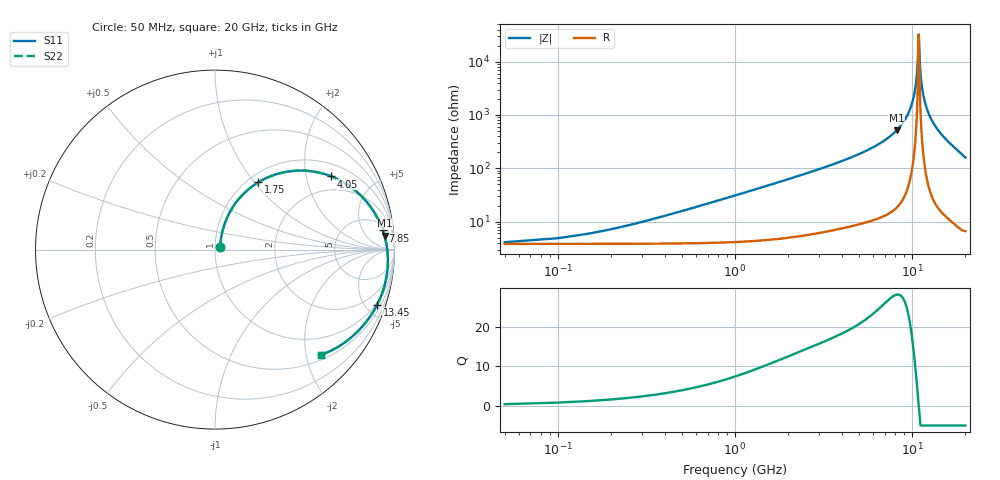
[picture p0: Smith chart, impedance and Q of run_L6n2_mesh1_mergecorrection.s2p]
#  Hz  S  RI  R  50
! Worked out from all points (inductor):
!   400 points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, 50 MHz to 20 GHz, reference 50 ohm
!   read as one part in series: L = 4.85 nH near 400 MHz
!   highest Q = 28.2 at 8.2 GHz (marker M1), where L = 10.1 nH
!   self-resonance near 10.9 GHz
!   S11 on the Smith chart (normalised r, x): 50 MHz: 1.06, +0.03; 1.75 GHz: 1.12, +1.05; 4.05 GHz: 1.43, +2.82; 7.85 GHz: 7, +14; 13.45 GHz: 0.86, -5.89; 20 GHz: 0.60, -2.29
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5e7  0.0295 0.0137  0.9555 -0.0146  0.9555 -0.0146  0.0295 0.0137
3e8  0.0369 0.0814  0.9479 -0.0869  0.9479 -0.0869  0.0369 0.0814
6e8  0.0593 0.1591  0.9249 -0.17  0.9249 -0.17  0.0593 0.1591
1.75e9  0.2412 0.3749  0.7387 -0.4042  0.7387 -0.4042  0.2412 0.3748
3.4e9  0.5516 0.4344  0.4217 -0.4841  0.4217 -0.4841  0.5516 0.4342
4.05e9  0.6489 0.4077  0.3227 -0.4646  0.3227 -0.4646  0.6488 0.4074
6.7e9  0.8882 0.206  0.0794 -0.2931  0.0794 -0.2931  0.8881 0.2056
7.85e9  0.9351 0.107  0.0311 -0.208  0.0311 -0.208  0.9349 0.1066
8.2e9  0.9444 0.0772  0.0212 -0.1825  0.0212 -0.1825  0.9442 0.0767
9.3e9  0.9612 -0.0143  0.00264 -0.1047  0.00264 -0.1047  0.961 -0.0148
1.005e10  0.9632 -0.074  -0.000813 -0.0545  -0.000813 -0.0545  0.963 -0.0745
1.06e10  0.9605 -0.1161  0.000725 -0.0193  0.000725 -0.0193  0.9602 -0.1166
1.075e10  0.9593 -0.1273  0.00169 -0.00998  0.00169 -0.00998  0.9589 -0.1279
1.09e10  0.9577 -0.1384  0.00288 -0.000754  0.00288 -0.000755  0.9574 -0.139
1.105e10  0.956 -0.1494  0.00428 0.00835  0.00428 0.00835  0.9557 -0.15
1.115e10  0.9547 -0.1567  0.00533 0.0144  0.00533 0.0144  0.9544 -0.1572
1.15e10  0.9495 -0.1817  0.00972 0.035  0.00972 0.035  0.9491 -0.1823
1.22e10  0.9359 -0.2297  0.0216 0.0742  0.0216 0.0742  0.9355 -0.2303
1.335e10  0.9057 -0.3028  0.0489 0.1327  0.0489 0.1327  0.9052 -0.3034
1.345e10  0.9026 -0.3088  0.0517 0.1375  0.0517 0.1375  0.9022 -0.3094
1.67e10  0.7747 -0.4752  0.1704 0.262  0.1704 0.262  0.774 -0.4758
2e10  0.5906 -0.5856  0.3411 0.3273  0.3411 0.3273  0.5897 -0.5861
